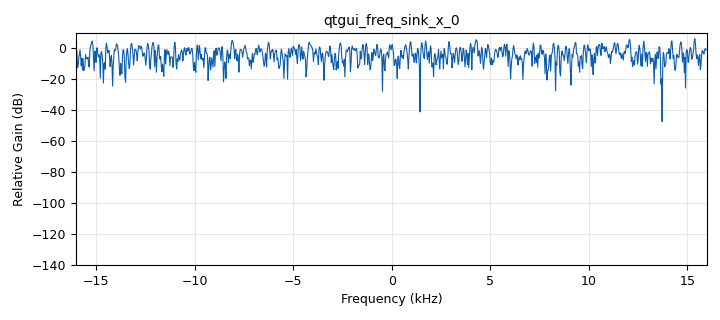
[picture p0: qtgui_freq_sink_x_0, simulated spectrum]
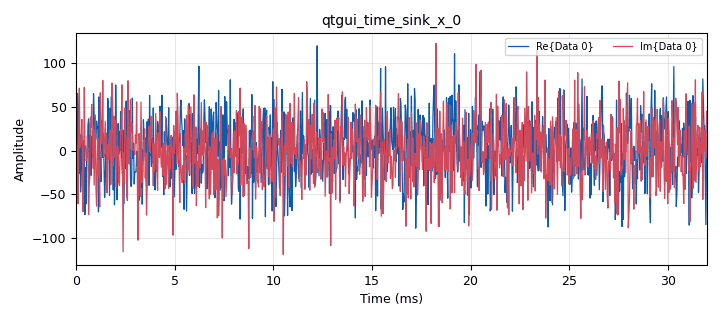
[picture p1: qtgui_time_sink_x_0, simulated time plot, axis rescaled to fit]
options:
  parameters:
    generate_options: qt_gui
    id: session5partC
    output_language: python
    title: Not titled yet
  states: {}

blocks:
- name: samp_rate
  id: variable
  parameters:
    value: '32000'
  states: {}
- name: analog_noise_source_x_0
  id: analog_noise_source_x
  parameters:
    amp: '50'
    noise_type: analog.GR_GAUSSIAN
    seed: '0'
    type: complex
  states: {}
- name: analog_sig_source_x_0
  id: analog_sig_source_x
  parameters:
    amp: '1'
    freq: '1000'
    offset: '0'
    phase: '0'
    samp_rate: samp_rate
    type: complex
    waveform: analog.GR_COS_WAVE
  states: {}
- name: blocks_add_xx_0
  id: blocks_add_xx
  parameters:
    type: complex
  states: {}
- name: blocks_throttle_0
  id: blocks_throttle
  parameters:
    samples_per_second: samp_rate
    type: complex
  states: {}
- name: qtgui_freq_sink_x_0
  id: qtgui_freq_sink_x
  parameters:
    bw: samp_rate
    fc: '0'
    fftsize: '1024'
    type: complex
    wintype: firdes.WIN_BLACKMAN_hARRIS
  states: {}
- name: qtgui_time_sink_x_0
  id: qtgui_time_sink_x
  parameters:
    size: '1024'
    srate: samp_rate
    type: complex
  states: {}

connections:
- [analog_noise_source_x_0, '0', blocks_throttle_0, '0']
- [analog_sig_source_x_0, '0', blocks_add_xx_0, '0']
- [blocks_add_xx_0, '0', qtgui_freq_sink_x_0, '0']
- [blocks_add_xx_0, '0', qtgui_time_sink_x_0, '0']
- [blocks_throttle_0, '0', blocks_add_xx_0, '1']

metadata:
  file_format: 1
